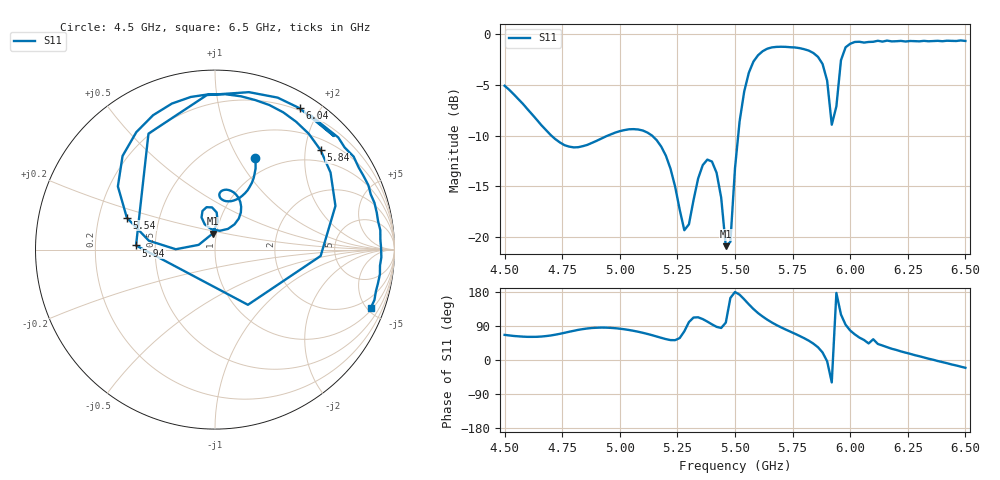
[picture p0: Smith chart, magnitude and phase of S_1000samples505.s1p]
! TOUCHSTONE file generated by CST MICROWAVE STUDIO
! Date and time: Fri Oct 28 09:54:25 2022
! Project name: L.cst
! Parameters = {Di=1.27; Epsilon_r=1.56; InnerDiameter=1.27; Length=2; Lf=10; Lg=60; OuterConductorThickness=0.2921; OuterDiameter=3.6; Wf=3; Wp=41.2; de=1.5; df=6.8; g=0.8; gx=1.97444; gy=3.12159; h=2.34; hf=1.524; px=14.9149; py=9.95888; w=9.7; wx=12.9405; wy=6.83729}
! Header version: 2018
! Port assignment regex: !\s*Touchstone port\s*([0-9]+)\s*=\s*(CST MWS port|CST DS port)\s*([0-9]+|Zmin|Zmax)\s*\(\"(.*)\"\)(\s*mode\s*([0-9]+))?.*
! Touchstone port assignment:
! Touchstone port 1 = CST MWS port 1 ("")
# GHz S DB R 50
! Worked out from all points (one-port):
!   101 points, 4.5 GHz to 6.5 GHz, reference 50 ohm
!   lowest |S11| = -20.9 dB at 5.46 GHz (marker M1), VSWR 1.20, Z = 47.9 + j8.62 ohm
!   |S11| at or under -10 dB: 4.703 GHz to 4.947 GHz (244.4 MHz wide, 5.06 % of centre); 5.14 GHz to 5.514 GHz (373.6 MHz wide, 7.01 % of centre)
!   S11 on the Smith chart (normalised r, x): 4.5 GHz: 0.80, +1.18; 5.54 GHz: 0.32, +0.16; 5.84 GHz: 0.73, +2.33; 5.94 GHz: 0.39, +0.02; 6.04 GHz: 0.17, +1.75; 6.5 GHz: 1.14, -5.26
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4.5  -5.08 66.3
4.76  -10.94 71.8
5  -9.56 82.6
5.16  -10.44 62.0
5.26  -17.30 57.9
5.3  -18.74 100.1
5.36  -12.91 108.0
5.4  -12.55 94.0
5.44  -16.11 84.5
5.46  -20.90 98.6
5.48  -20.47 163.8
5.5  -13.21 179.5
5.54  -5.64 160.1
5.58  -2.70 134.6
5.64  -1.43 106.4
5.76  -1.31 69.4
5.84  -1.85 43.3
5.9  -4.59 -3.4
5.92  -8.92 -59.2
5.94  -7.12 177.0
5.96  -2.56 119.8
6  -0.94 77.8
6.04  -0.74 59.1
6.08  -0.76 43.7
6.1  -0.75 54.8
6.12  -0.65 42.3
6.26  -0.67 16.4
6.5  -0.66 -20.6
